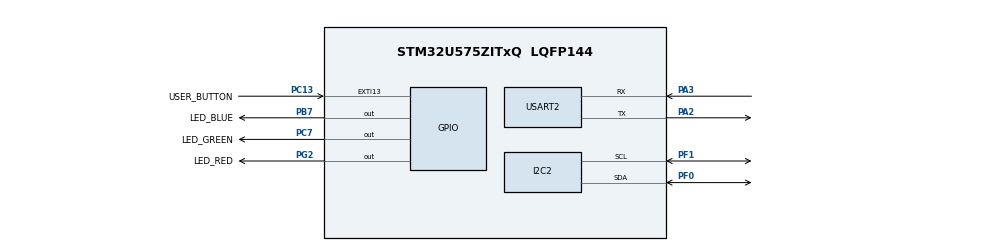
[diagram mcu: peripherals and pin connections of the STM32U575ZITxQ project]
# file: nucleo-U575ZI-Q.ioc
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CORTEX_M33_NS.userName=CORTEX_M33
I2C2.SMBusPeripheralMode=SMBUS_PERIPHERAL_MODE_SMBUS_HOST
I2C2.Timeout=0x00008030
I2C2.Timing=0x00000E14
Mcu.Family=STM32U5
Mcu.Name=STM32U575ZITxQ
Mcu.Package=LQFP144
NVIC.I2C2_ER_IRQn=true\:0\:0\:false\:false\:true\:true\:true\:true
NVIC.I2C2_EV_IRQn=true\:0\:0\:false\:false\:true\:true\:true\:true
NVIC.PriorityGroup=NVIC_PRIORITYGROUP_4
NVIC.TIM17_IRQn=true\:7\:0\:false\:false\:true\:false\:true\:true
NVIC.TimeBase=TIM17_IRQn
NVIC.TimeBaseIP=TIM17
PA10.Signal=USART1_RX
PA13\ (JTMS/SWDIO).Signal=DEBUG_JTMS-SWDIO
PA14\ (JTCK/SWCLK).Signal=DEBUG_JTCK-SWCLK
PA2.Mode=Asynchronous
PA2.Signal=USART2_TX
PA3.Mode=Asynchronous
PA3.Signal=USART2_RX
PA9.Signal=USART1_TX
PB3\ (JTDO/TRACESWO).Signal=DEBUG_JTDO-SWO
PB7.GPIO_Label=LED_BLUE
PB7.Signal=GPIO_Output
PC13.GPIO_Label=USER_BUTTON
PC13.Signal=GPXTI13
PC14-OSC32_IN\ (PC14).Signal=RCC_OSC32_IN
PC15-OSC32_OUT\ (PC15).Signal=RCC_OSC32_OUT
PC7.GPIO_Label=LED_GREEN
PC7.Signal=GPIO_Output
PF0.Mode=SMBus-two-wire-Interface
PF0.Signal=I2C2_SDA
PF1.Mode=SMBus-two-wire-Interface
PF1.Signal=I2C2_SCL
PG2.GPIO_Label=LED_RED
PG2.Signal=GPIO_Output
PWR.PowerMode=PWR_SMPS_SUPPLY
ProjectManager.HeapSize=0x200
ProjectManager.StackSize=0x400
ProjectManager.TargetToolchain=CMake
RCC.ADCFreq_Value=16000000
RCC.DACCLockSelectionVirtual=RCC_DAC1CLKSOURCE_LSI
RCC.EPOD_VALUE=4000000
RCC.HSE_VALUE=16000000
RCC.HSI48_VALUE=48000000
RCC.HSI_VALUE=16000000
RCC.LSE_VALUE=32768
RCC.LSIDIV_VALUE=32000
RCC.MSI_VALUE=4000000
RCC.USBFreq_Value=48000000
RCC.VCOOutputFreq_Value=516000000
USART2.VirtualMode-Asynchronous=VM_ASYNC
VP_ICACHE_VS_ENABLE_ICACHE_MEMORY.Mode=Memoryregions
VP_ICACHE_VS_ICACHE.Mode=DirectMappedCache
VP_LPBAMQUEUE_VS_QUEUE.Mode=QUEUEMODE
VP_LPBAM_VS_SIG1.Mode=SmartRun
VP_LPBAM_VS_SIG4.Mode=LPDMA1
VP_MEMORYMAP_VS_MEMORYMAP.Mode=CurAppReg
VP_PWR_VS_DBSignals.Mode=DisableDeadBatterySignals
VP_PWR_VS_LPOM.Mode=PowerOptimisation
VP_PWR_VS_SECSignals.Mode=Security/Privilege
VP_SYS_VS_tim17.Mode=TIM17
board=NUCLEO-U575ZI-Q

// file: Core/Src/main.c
/* USER CODE BEGIN Header */
/**
  ******************************************************************************
  * @file           : main.c
  * @brief          : Main program body
  ******************************************************************************
  * @attention
  *
  * Copyright (c) 2025 STMicroelectronics.
  * All rights reserved.
  *
  * This software is licensed under terms that can be found in the LICENSE file
  * in the root directory of this software component.
  * If no LICENSE file comes with this software, it is provided AS-IS.
  *
  ******************************************************************************
  */
/* USER CODE END Header */
#include "main.h"
#include "i2c.h"
#include "icache.h"
#include "memorymap.h"
#include "usart.h"
#include "gpio.h"

/* USER CODE BEGIN Includes */
#include "FreeRTOS.h"
#include "task.h"
#include "logging.h"
#include "SEGGER_RTT.h"
#include "app_tests.h"
/* USER CODE END Includes */

void SystemClock_Config(void);
static void SystemPower_Config(void);

/* USER CODE BEGIN 0 */
class moo {

};
/* USER CODE END 0 */

int main(void)
{

  /* MCU Configuration--------------------------------------------------------*/

  /* Reset of all peripherals, Initializes the Flash interface and the Systick. */
  HAL_Init();

  /* Configure the System Power */
  SystemPower_Config();

  /* Configure the system clock */
  SystemClock_Config();

  /* Initialize all configured peripherals */
  MX_GPIO_Init();
  MX_I2C2_SMBUS_Init();
  MX_ICACHE_Init();
  MX_USART2_UART_Init();
  /* USER CODE BEGIN 2 */
  initLogging();

  /* Initialize RTT for test output */
  SEGGER_RTT_printf(0, "\n\n");
  SEGGER_RTT_printf(0, "###############################################\n");
  SEGGER_RTT_printf(0, "#       STM32G474 APP LIBRARY UNIT TESTS     #\n");
  SEGGER_RTT_printf(0, "#             uTestRunner v1.0                #\n");
  SEGGER_RTT_printf(0, "###############################################\n");

  /* Run all unit tests */
  runAllTests();

  SEGGER_RTT_printf(0, "\n");
  SEGGER_RTT_printf(0, "###############################################\n");
  SEGGER_RTT_printf(0, "#          UNIT TESTS COMPLETED              #\n");
  SEGGER_RTT_printf(0, "#      Check RTT output for results          #\n");
  SEGGER_RTT_printf(0, "###############################################\n");

  /* Create a simple blink task to indicate tests are done */
  TaskHandle_t blinkTaskHandle = NULL;
  BaseType_t xReturned = xTaskCreate([](void* pvParameters) {
    (void)pvParameters;
    while(1) {
      HAL_GPIO_TogglePin(LED_GREEN_GPIO_Port, LED_GREEN_Pin);
      vTaskDelay(pdMS_TO_TICKS(500));  // Blink every 500ms
    }
  }, "blinkTask", 128, NULL, tskIDLE_PRIORITY + 1, &blinkTaskHandle);

  if(xReturned != pdPASS) {
    Error_Handler();
  }

  /* Start scheduler */
  vTaskStartScheduler();
  /* USER CODE END 2 */

  /* We should never get here as control is now taken by the scheduler */

  /* Infinite loop */
  while (1)
  {

  }
}

void SystemClock_Config(void)
{
  RCC_OscInitTypeDef RCC_OscInitStruct = {0};
  RCC_ClkInitTypeDef RCC_ClkInitStruct = {0};

  /** Configure the main internal regulator output voltage
  */
  if (HAL_PWREx_ControlVoltageScaling(PWR_REGULATOR_VOLTAGE_SCALE4) != HAL_OK)
  {
    Error_Handler();
  }

  /** Initializes the CPU, AHB and APB buses clocks
  */
  RCC_OscInitStruct.OscillatorType = RCC_OSCILLATORTYPE_MSI;
  RCC_OscInitStruct.MSIState = RCC_MSI_ON;
  RCC_OscInitStruct.MSICalibrationValue = RCC_MSICALIBRATION_DEFAULT;
  RCC_OscInitStruct.MSIClockRange = RCC_MSIRANGE_4;
  RCC_OscInitStruct.PLL.PLLState = RCC_PLL_NONE;
  if (HAL_RCC_OscConfig(&RCC_OscInitStruct) != HAL_OK)
  {
    Error_Handler();
  }

  /** Initializes the CPU, AHB and APB buses clocks
  */
  RCC_ClkInitStruct.ClockType = RCC_CLOCKTYPE_HCLK|RCC_CLOCKTYPE_SYSCLK
                              |RCC_CLOCKTYPE_PCLK1|RCC_CLOCKTYPE_PCLK2
                              |RCC_CLOCKTYPE_PCLK3;
  RCC_ClkInitStruct.SYSCLKSource = RCC_SYSCLKSOURCE_MSI;
  RCC_ClkInitStruct.AHBCLKDivider = RCC_SYSCLK_DIV1;
  RCC_ClkInitStruct.APB1CLKDivider = RCC_HCLK_DIV1;
  RCC_ClkInitStruct.APB2CLKDivider = RCC_HCLK_DIV1;
  RCC_ClkInitStruct.APB3CLKDivider = RCC_HCLK_DIV1;

  if (HAL_RCC_ClockConfig(&RCC_ClkInitStruct, FLASH_LATENCY_0) != HAL_OK)
  {
    Error_Handler();
  }
}

/**
  * @brief Power Configuration
  * @retval None
  */
static void SystemPower_Config(void)
{
  HAL_PWREx_EnableVddIO2();

  /*
   * Disable the internal Pull-Up in Dead Battery pins of UCPD peripheral
   */
  HAL_PWREx_DisableUCPDDeadBattery();

  /*
   * Switch to SMPS regulator instead of LDO
   */
  if (HAL_PWREx_ConfigSupply(PWR_SMPS_SUPPLY) != HAL_OK)
  {
    Error_Handler();
  }
}

void HAL_TIM_PeriodElapsedCallback(TIM_HandleTypeDef *htim)
{
  if (htim->Instance == TIM17)
  {
    HAL_IncTick();
  }
}

void Error_Handler(void)
{
  __disable_irq();
  while (1)
  {
  }
}
